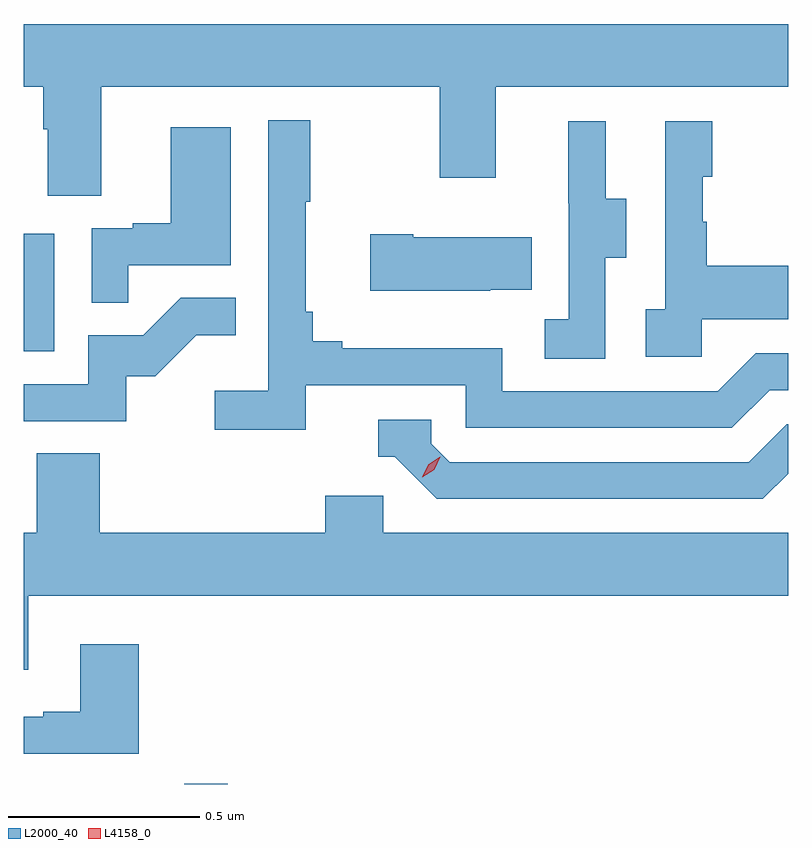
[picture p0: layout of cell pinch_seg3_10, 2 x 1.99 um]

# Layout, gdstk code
import gdstk
lib = gdstk.Library(unit=1e-6, precision=1e-09)
def R(c, l, rs):  # rectangles x0, y0, x1, y1
    for r in rs: c.add(gdstk.rectangle(r[:2], r[2:], *l))
def P(c, l, *ps):  # polygons
    for p in ps: c.add(gdstk.Polygon(p, *l))
L2000_40 = (2000, 40)
L4158_0 = (4158, 0)

pinch_seg3_10 = lib.new_cell('pinch_seg3_10')
R(pinch_seg3_10, L2000_40, [(1132.19,740.383,1132.303,740.384), (1131.77,741.516,1131.85,741.823)])
P(pinch_seg3_10, L2000_40, [(1131.973,742.208),(1132.858,742.208),(1132.858,741.969),(1133.005,741.969),(1133.005,742.208),(1133.77,742.208),(1133.77,742.372),(1131.77,742.372),(1131.77,742.208),(1131.821,742.208),(1131.821,742.096),(1131.833,742.096),(1131.833,741.922),(1131.973,741.922)],
  [(1132.508,741.426),(1132.926,741.426),(1132.926,741.315),(1133.623,741.315),(1133.722,741.414),(1133.77,741.414),(1133.77,741.51),(1133.685,741.51),(1133.586,741.411),(1133.022,741.411),(1133.022,741.523),(1132.603,741.523),(1132.603,741.542),(1132.526,741.542),(1132.526,741.619),(1132.507,741.619),(1132.507,741.907),(1132.519,741.907),(1132.519,742.12),(1132.41,742.12),(1132.41,741.412),(1132.269,741.412),(1132.269,741.31),(1132.508,741.31)],
  [(1133.292,741.76),(1133.347,741.76),(1133.347,741.915),(1133.293,741.915),(1133.293,742.117),(1133.195,742.117),(1133.195,741.903),(1133.196,741.903),(1133.196,741.599),(1133.133,741.599),(1133.133,741.496),(1133.292,741.496)],
  [(1133.544,741.599),(1133.77,741.599),(1133.77,741.739),(1133.557,741.739),(1133.557,741.854),(1133.547,741.854),(1133.547,741.972),(1133.572,741.972),(1133.572,742.117),(1133.448,742.117),(1133.448,741.626),(1133.397,741.626),(1133.397,741.501),(1133.544,741.501)],
  [(1132.043,741.741),(1132.312,741.741),(1132.312,742.102),(1132.154,742.102),(1132.154,741.85),(1132.055,741.85),(1132.055,741.837),(1131.948,741.837),(1131.948,741.643),(1132.043,741.643)],
  [(1132.991,741.677),(1133.099,741.677),(1133.099,741.814),(1132.789,741.814),(1132.789,741.822),(1132.677,741.822),(1132.677,741.674),(1132.991,741.674)],
  [(1132.038,741.45),(1132.114,741.45),(1132.221,741.557),(1132.325,741.557),(1132.325,741.656),(1132.181,741.656),(1132.083,741.558),(1131.939,741.558),(1131.939,741.429),(1131.77,741.429),(1131.77,741.333),(1132.038,741.333)],
  [(1133.77,741.195),(1133.77,741.324),(1133.766,741.324),(1133.667,741.225),(1132.884,741.225),(1132.836,741.273),(1132.836,741.336),(1132.697,741.336),(1132.697,741.24),(1132.74,741.24),(1132.851,741.129),(1133.704,741.129)],
  [(1131.781,740.876),(1133.77,740.876),(1133.77,741.04),(1132.71,741.04),(1132.71,741.138),(1132.559,741.138),(1132.559,741.04),(1131.968,741.04),(1131.968,741.248),(1131.803,741.248),(1131.803,741.04),(1131.77,741.04),(1131.77,740.682),(1131.781,740.682)],
  [(1132.07,740.749),(1131.917,740.749),(1131.917,740.572),(1131.821,740.572),(1131.821,740.559),(1131.77,740.559),(1131.77,740.462),(1132.07,740.462)])
P(pinch_seg3_10, L4158_0, [(1132.813,741.186),(1132.813,741.187),(1132.829,741.22),(1132.86,741.239),(1132.86,741.239),(1132.86,741.239),(1132.844,741.206),(1132.813,741.186)])

lib.write_gds('pinch_seg3_10.gds')
